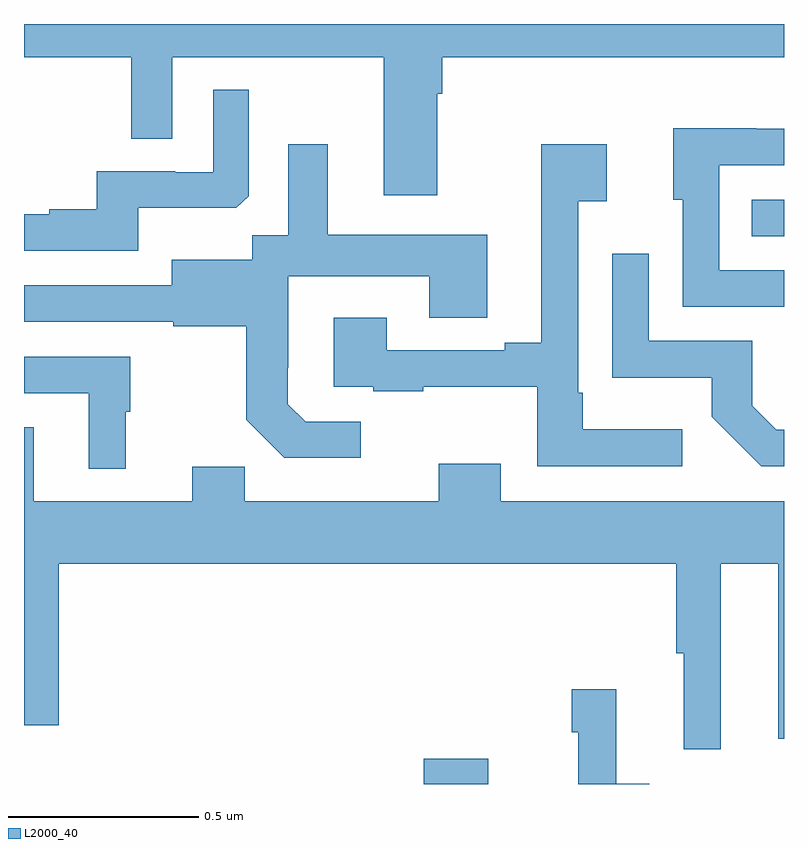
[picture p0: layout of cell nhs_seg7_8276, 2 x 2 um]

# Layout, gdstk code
import gdstk
lib = gdstk.Library(unit=1e-6, precision=1e-09)
def R(c, l, rs):  # rectangles x0, y0, x1, y1
    for r in rs: c.add(gdstk.rectangle(r[:2], r[2:], *l))
def P(c, l, *ps):  # polygons
    for p in ps: c.add(gdstk.Polygon(p, *l))
L2000_40 = (2000, 40)

nhs_seg7_8276 = lib.new_cell('nhs_seg7_8276')
R(nhs_seg7_8276, L2000_40, [(223.052,1036,223.222,1036.066), (223.915,1037.442,224,1037.538)])
P(nhs_seg7_8276, L2000_40, [(223.087,1037.816),(223.1,1037.816),(223.1,1037.912),(224,1037.912),(224,1038),(222,1038),(222,1037.912),(222.282,1037.912),(222.282,1037.698),(222.39,1037.698),(222.39,1037.912),(222.947,1037.912),(222.947,1037.55),(223.087,1037.55)],
  [(222.301,1037.516),(222.559,1037.516),(222.591,1037.547),(222.591,1037.827),(222.498,1037.827),(222.498,1037.61),(222.398,1037.61),(222.398,1037.613),(222.191,1037.613),(222.191,1037.512),(222.067,1037.512),(222.067,1037.5),(222,1037.5),(222,1037.403),(222.301,1037.403)],
  [(224,1037.352),(223.83,1037.352),(223.83,1037.628),(224,1037.628),(224,1037.724),(223.927,1037.724),(223.927,1037.726),(223.709,1037.726),(223.709,1037.538),(223.734,1037.538),(223.734,1037.256),(224,1037.256)],
  [(222.886,1036.953),(222.741,1036.953),(222.694,1037),(222.694,1037.095),(222.696,1037.095),(222.696,1037.336),(223.067,1037.336),(223.067,1037.227),(223.219,1037.227),(223.219,1037.446),(222.799,1037.446),(222.799,1037.683),(222.695,1037.683),(222.695,1037.444),(222.6,1037.444),(222.6,1037.38),(222.389,1037.38),(222.389,1037.313),(222,1037.313),(222,1037.217),(222.393,1037.217),(222.393,1037.205),(222.585,1037.205),(222.585,1036.959),(222.685,1036.859),(222.886,1036.859)],
  [(223.732,1036.933),(223.471,1036.933),(223.471,1037.029),(223.458,1037.029),(223.458,1037.534),(223.534,1037.534),(223.534,1037.683),(223.361,1037.683),(223.361,1037.161),(223.265,1037.161),(223.265,1037.142),(222.955,1037.142),(222.955,1037.227),(222.815,1037.227),(222.815,1037.046),(222.919,1037.046),(222.919,1037.034),(223.051,1037.034),(223.051,1037.045),(223.35,1037.045),(223.35,1036.836),(223.732,1036.836)],
  [(224,1036.932),(223.98,1036.932),(223.917,1036.995),(223.917,1037.166),(223.644,1037.166),(223.644,1037.395),(223.548,1037.395),(223.548,1037.069),(223.81,1037.069),(223.81,1036.967),(223.94,1036.836),(224,1036.836)],
  [(222.268,1036.98),(222.28,1036.98),(222.28,1037.124),(222,1037.124),(222,1037.028),(222.17,1037.028),(222.17,1036.829),(222.268,1036.829)],
  [(223.834,1036.58),(223.985,1036.58),(223.985,1036.119),(224,1036.119),(224,1036.744),(223.255,1036.744),(223.255,1036.843),(223.091,1036.843),(223.091,1036.744),(222.581,1036.744),(222.581,1036.835),(222.443,1036.835),(222.443,1036.744),(222.025,1036.744),(222.025,1036.939),(222,1036.939),(222,1036.155),(222.092,1036.155),(222.092,1036.58),(223.717,1036.58),(223.717,1036.344),(223.736,1036.344),(223.736,1036.092),(223.834,1036.092)],
  [(223.645,1036.001),(223.559,1036.001),(223.559,1036.249),(223.441,1036.249),(223.441,1036.136),(223.459,1036.136),(223.459,1036),(223.645,1036)])

lib.write_gds('nhs_seg7_8276.gds')
